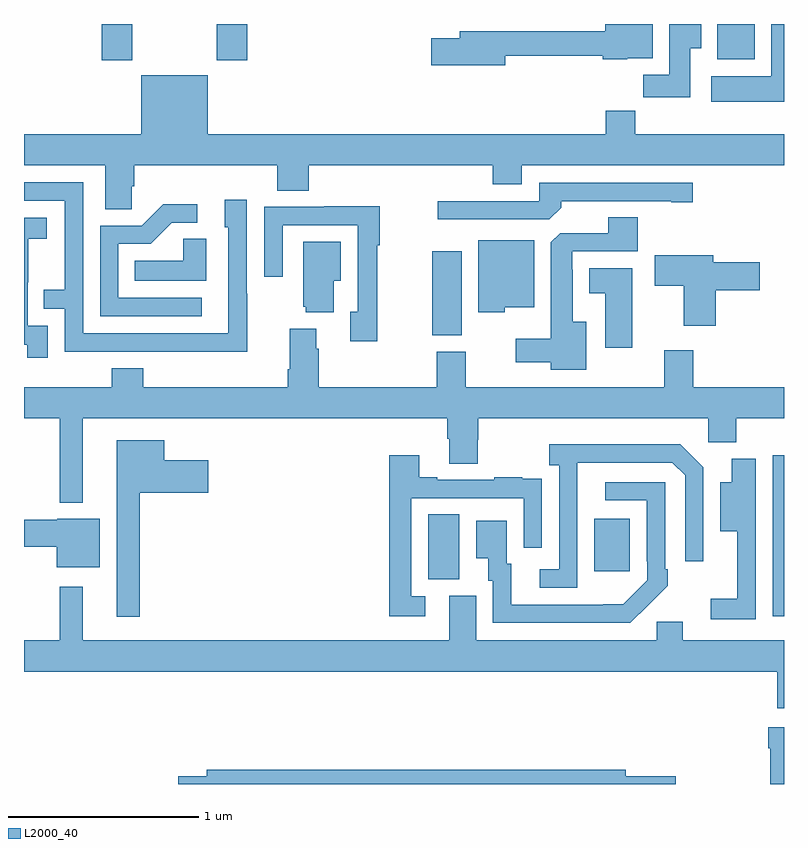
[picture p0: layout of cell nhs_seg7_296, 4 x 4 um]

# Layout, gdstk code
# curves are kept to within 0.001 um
import gdstk
lib = gdstk.Library(unit=1e-6, precision=1e-09)
def R(c, l, rs):  # rectangles x0, y0, x1, y1
    for r in rs: c.add(gdstk.rectangle(r[:2], r[2:], *l))
def P(c, l, *ps):  # polygons
    for p in ps: c.add(gdstk.Polygon(p, *l))
L2000_40 = (2000, 40)

nhs_seg7_296 = lib.new_cell('nhs_seg7_296')
R(nhs_seg7_296, L2000_40, [(136.941,1024.884,137,1025.731), (135.128,1025.077,135.292,1025.42), (136.001,1025.121,136.189,1025.395), (135.149,1026.361,135.304,1026.805), (133.409,1027.809,133.569,1028), (134.014,1027.809,134.174,1028), (136.649,1027.814,136.846,1028)])
P(nhs_seg7_296, L2000_40, [(136.507,1027.873),(136.564,1027.873),(136.564,1028),(136.397,1028),(136.397,1027.732),(136.258,1027.732),(136.258,1027.614),(136.507,1027.614)],
  [(137,1028),(136.934,1028),(136.934,1027.726),(136.617,1027.726),(136.617,1027.592),(137,1027.592)],
  [(135.532,1027.833),(136.046,1027.833),(136.046,1027.814),(136.176,1027.814),(136.176,1027.82),(136.309,1027.82),(136.309,1028),(136.058,1028),(136.058,1027.961),(135.293,1027.961),(135.293,1027.925),(135.144,1027.925),(135.144,1027.783),(135.532,1027.783)],
  [(134.333,1027.123),(134.498,1027.123),(134.498,1027.256),(135.467,1027.256),(135.467,1027.157),(135.619,1027.157),(135.619,1027.256),(137,1027.256),(137,1027.42),(136.217,1027.42),(136.217,1027.544),(136.061,1027.544),(136.061,1027.42),(133.966,1027.42),(133.966,1027.729),(133.616,1027.729),(133.616,1027.42),(133,1027.42),(133,1027.256),(133.427,1027.256),(133.427,1027.024),(133.566,1027.024),(133.566,1027.147),(133.58,1027.147),(133.58,1027.256),(134.333,1027.256)],
  [(134.175,1026.581),(134.172,1026.581),(134.172,1027.075),(134.057,1027.075),(134.057,1026.93),(134.076,1026.93),(134.076,1026.372),(133.311,1026.372),(133.311,1027.167),(133,1027.167),(133,1027.071),(133.215,1027.071),(133.215,1026.602),(133.105,1026.602),(133.105,1026.501),(133.215,1026.501),(133.215,1026.276),(133.711,1026.276),(133.711,1026.275),(134.175,1026.275)],
  [(135.827,1027.034),(135.827,1027.068),(136.406,1027.068),(136.406,1027.063),(136.519,1027.063),(136.519,1027.164),(135.711,1027.164),(135.711,1027.068),(135.177,1027.068),(135.177,1026.972),(135.765,1026.972)],
  [(133.936,1026.558),(133.497,1026.558),(133.497,1026.843),(133.666,1026.843),(133.777,1026.954),(133.912,1026.954),(133.912,1027.052),(133.733,1027.052),(133.62,1026.939),(133.401,1026.939),(133.401,1026.462),(133.936,1026.462)],
  [(134.858,1026.835),(134.873,1026.835),(134.873,1027.04),(134.581,1027.04),(134.581,1027.038),(134.265,1027.038),(134.265,1026.669),(134.361,1026.669),(134.361,1026.942),(134.757,1026.942),(134.757,1026.486),(134.717,1026.486),(134.717,1026.33),(134.858,1026.33)],
  [(135.958,1026.433),(135.889,1026.433),(135.889,1026.707),(135.885,1026.707),(135.885,1026.804),(136.229,1026.804),(136.229,1026.983),(136.076,1026.983),(136.076,1026.9),(135.822,1026.9),(135.773,1026.851),(135.773,1026.343),(135.588,1026.343),(135.588,1026.221),(135.773,1026.221),(135.773,1026.179),(135.958,1026.179)],
  [(133.125,1026.411),(133.02,1026.411),(133.02,1026.641),(133.022,1026.641),(133.022,1026.869),(133.12,1026.869),(133.12,1026.979),(133,1026.979),(133,1026.313),(133.017,1026.313),(133.017,1026.243),(133.125,1026.243)],
  [(133.96,1026.869),(133.839,1026.869),(133.839,1026.754),(133.582,1026.754),(133.582,1026.65),(133.96,1026.65)],
  [(135.531,1026.509),(135.685,1026.509),(135.685,1026.862),(135.392,1026.862),(135.392,1026.482),(135.531,1026.482)],
  [(134.629,1026.65),(134.668,1026.65),(134.668,1026.853),(134.471,1026.853),(134.471,1026.513),(134.483,1026.513),(134.483,1026.482),(134.629,1026.482)],
  [(136.64,1026.599),(136.873,1026.599),(136.873,1026.746),(136.627,1026.746),(136.627,1026.784),(136.32,1026.784),(136.32,1026.622),(136.472,1026.622),(136.472,1026.411),(136.64,1026.411)],
  [(136.201,1026.715),(135.974,1026.715),(135.974,1026.584),(136.058,1026.584),(136.058,1026.297),(136.201,1026.297)],
  [(135.227,1025.818),(135.239,1025.818),(135.239,1025.686),(135.387,1025.686),(135.387,1025.811),(135.392,1025.811),(135.392,1025.924),(136.602,1025.924),(136.602,1025.798),(136.749,1025.798),(136.749,1025.924),(137,1025.924),(137,1026.088),(136.523,1026.088),(136.523,1026.283),(136.37,1026.283),(136.37,1026.088),(135.325,1026.088),(135.325,1026.276),(135.173,1026.276),(135.173,1026.088),(134.552,1026.088),(134.552,1026.29),(134.539,1026.29),(134.539,1026.397),(134.399,1026.397),(134.399,1026.184),(134.387,1026.184),(134.387,1026.088),(133.628,1026.088),(133.628,1026.187),(133.463,1026.187),(133.463,1026.088),(133,1026.088),(133,1025.924),(133.188,1025.924),(133.188,1025.48),(133.309,1025.48),(133.309,1025.924),(135.227,1025.924)],
  [(133.609,1025.534),(133.969,1025.534),(133.969,1025.704),(133.738,1025.704),(133.738,1025.809),(133.487,1025.809),(133.487,1024.881),(133.609,1024.881)],
  [(135.912,1025.491),(135.913,1025.691),(136.413,1025.691),(136.479,1025.625),(136.479,1025.172),(136.575,1025.172),(136.575,1025.667),(136.454,1025.788),(135.765,1025.788),(135.765,1025.678),(135.816,1025.678),(135.816,1025.13),(135.714,1025.13),(135.714,1025.034),(135.912,1025.034)],
  [(135.112,1024.989),(135.039,1024.989),(135.039,1025.505),(135.63,1025.505),(135.63,1025.244),(135.726,1025.244),(135.726,1025.498),(135.725,1025.498),(135.725,1025.607),(135.623,1025.607),(135.623,1025.614),(135.475,1025.614),(135.475,1025.601),(135.175,1025.601),(135.175,1025.614),(135.079,1025.614),(135.079,1025.731),(134.923,1025.731),(134.923,1024.884),(135.112,1024.884)],
  [(136.851,1025.713),(136.724,1025.713),(136.724,1025.587),(136.664,1025.587),(136.664,1025.33),(136.754,1025.33),(136.754,1024.975),(136.614,1024.975),(136.614,1024.866),(136.851,1024.866)],
  [(136.283,1024.939),(136.284,1024.938),(136.389,1025.043),(136.389,1025.131),(136.374,1025.131),(136.374,1025.589),(136.059,1025.589),(136.059,1025.493),(136.278,1025.493),(136.278,1025.173),(136.281,1025.173),(136.281,1025.073),(136.153,1024.945),(135.565,1024.944),(135.565,1025.16),(135.541,1025.16),(135.541,1025.386),(135.38,1025.386),(135.38,1025.189),(135.443,1025.189),(135.443,1025.07),(135.468,1025.07),(135.468,1024.848),(136.192,1024.848)],
  [(133.399,1025.395),(133.176,1025.395),(133.176,1025.39),(133,1025.39),(133,1025.248),(133.172,1025.248),(133.172,1025.141),(133.399,1025.141)],
  [(137,1024.756),(136.468,1024.756),(136.468,1024.854),(136.329,1024.854),(136.329,1024.756),(135.379,1024.756),(135.379,1024.992),(135.239,1024.992),(135.239,1024.756),(133.309,1024.756),(133.309,1025.038),(133.188,1025.038),(133.188,1024.756),(133,1024.756),(133,1024.592),(136.964,1024.592),(136.964,1024.398),(137,1024.398)],
  [(137,1024.3),(136.916,1024.3),(136.916,1024.187),(136.928,1024.187),(136.928,1024),(137,1024)],
  [(136.429,1024.04),(136.168,1024.04),(136.168,1024.076),(133.961,1024.076),(133.961,1024.04),(133.812,1024.04),(133.812,1024),(136.429,1024)])

lib.write_gds('nhs_seg7_296.gds')
